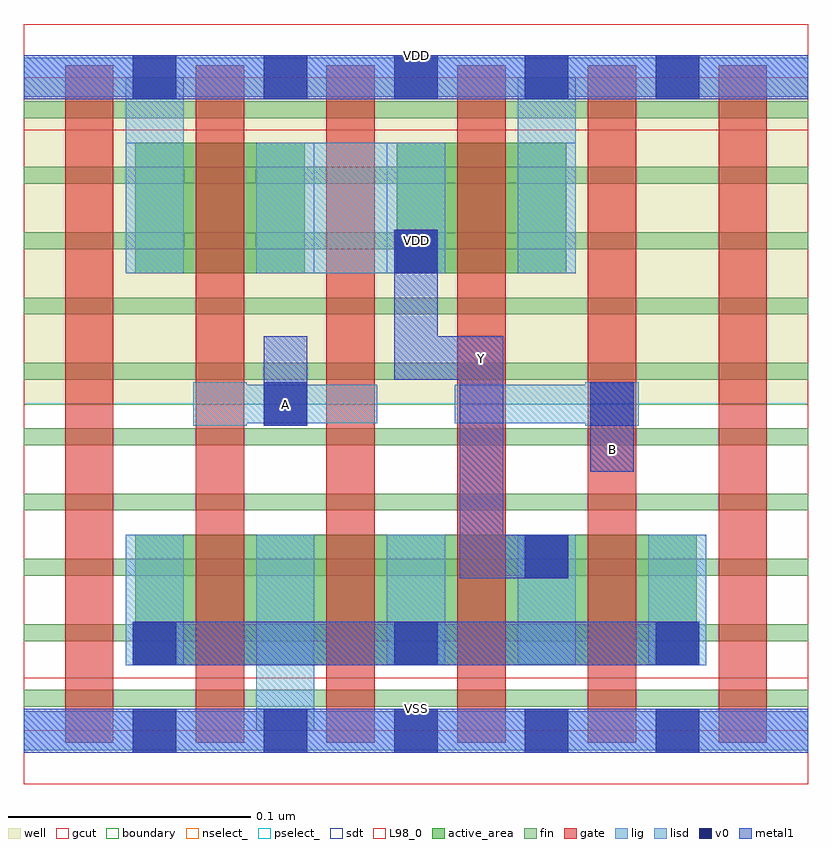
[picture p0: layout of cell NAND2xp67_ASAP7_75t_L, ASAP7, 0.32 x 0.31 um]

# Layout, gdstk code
import gdstk
lib = gdstk.Library(unit=1e-6, precision=2.5e-10)
def R(c, l, rs):  # rectangles x0, y0, x1, y1
    for r in rs: c.add(gdstk.rectangle(r[:2], r[2:], *l))
def A(c, l, x, y, w, h, nx, ny, dx, dy):  # array of equal rectangles
    R(c, l, [(x+i*dx, y+j*dy, x+i*dx+w, y+j*dy+h) for i in range(nx) for j in range(ny)])
def P(c, l, *ps):  # polygons
    for p in ps: c.add(gdstk.Polygon(p, *l))
well = (1, 0)
fin = (2, 0)
gate = (7, 0)
gcut = (10, 0)
active_area = (11, 0)
nselect_ = (12, 0)
pselect_ = (13, 0)
lig = (16, 0)
lisd = (17, 0)
v0 = (18, 0)
metal1 = (19, 0)
sdt = (88, 0)
L98_0 = (98, 0)
boundary = (100, 0)

nand2xp67_asap7_75t_l = lib.new_cell('NAND2xp67_ASAP7_75t_L')
R(nand2xp67_asap7_75t_l, well, [(0,0.135,0.324,0.27)])
A(nand2xp67_asap7_75t_l, fin, 0, 0.01, 0.324, 0.007, 1, 10, 0, 0.027)
A(nand2xp67_asap7_75t_l, gate, 0.017, -0.005, 0.02, 0.28, 6, 1, 0.054, 0)
R(nand2xp67_asap7_75t_l, gcut, [(0,-0.022,0.324,0.022), (0,0.248,0.324,0.292)])
R(nand2xp67_asap7_75t_l, active_area, [(0.046,0.027,0.278,0.081), (0.046,0.189,0.116,0.243), (0.154,0.189,0.224,0.243)])
R(nand2xp67_asap7_75t_l, nselect_, [(0,0,0.324,0.135)])
R(nand2xp67_asap7_75t_l, pselect_, [(0,0.135,0.324,0.27)])
R(nand2xp67_asap7_75t_l, lig, [(0,-0.008,0.324,0.008), (0.07,0.126,0.092,0.144), (0.232,0.126,0.254,0.144), (0.07,0.127,0.146,0.143), (0.178,0.127,0.254,0.143), (0,0.262,0.324,0.278)])
A(nand2xp67_asap7_75t_l, lisd, 0.15, 0.027, 0.024, 0.054, 3, 1, 0.054, 0)
R(nand2xp67_asap7_75t_l, lisd, [(0.096,0,0.12,0.081), (0.096,0,0.12,0.081), (0.042,0.027,0.066,0.081), (0.042,0.189,0.066,0.27), (0.042,0.189,0.066,0.27), (0.096,0.189,0.174,0.243), (0.15,0.189,0.174,0.243), (0.204,0.189,0.228,0.27), (0.204,0.189,0.228,0.27)])
A(nand2xp67_asap7_75t_l, v0, 0.045, -0.009, 0.018, 0.018, 5, 2, 0.054, 0.27)
A(nand2xp67_asap7_75t_l, v0, 0.045, 0.027, 0.018, 0.018, 3, 1, 0.108, 0)
R(nand2xp67_asap7_75t_l, v0, [(0.207,0.063,0.225,0.081), (0.099,0.126,0.117,0.144), (0.234,0.126,0.252,0.144), (0.153,0.189,0.171,0.207)])
A(nand2xp67_asap7_75t_l, metal1, 0.045, 0.027, 0.018, 0.018, 3, 1, 0.108, 0)
R(nand2xp67_asap7_75t_l, metal1, [(0,-0.009,0.324,0.009), (0.045,0.027,0.279,0.045), (0.207,0.063,0.225,0.081), (0.234,0.107,0.252,0.144), (0.099,0.126,0.117,0.144), (0.099,0.126,0.117,0.163), (0.234,0.126,0.252,0.144), (0.153,0.189,0.171,0.207), (0,0.261,0.324,0.279)])
P(nand2xp67_asap7_75t_l, metal1, [(0.18,0.063),(0.18,0.145),(0.153,0.145),(0.153,0.207),(0.171,0.207),(0.171,0.163),(0.198,0.163),(0.198,0.081),(0.225,0.081),(0.225,0.063)])
A(nand2xp67_asap7_75t_l, sdt, 0.096, 0.027, 0.024, 0.054, 4, 1, 0.054, 0)
A(nand2xp67_asap7_75t_l, sdt, 0.042, 0.189, 0.024, 0.054, 4, 1, 0.054, 0)
R(nand2xp67_asap7_75t_l, sdt, [(0.042,0.027,0.066,0.081), (0.096,0.027,0.12,0.081), (0.042,0.189,0.066,0.243), (0.204,0.189,0.228,0.243)])
R(nand2xp67_asap7_75t_l, L98_0, [(0,0,0.324,0.27)])
R(nand2xp67_asap7_75t_l, boundary, [(0,0,0.324,0.27)])
nand2xp67_asap7_75t_l.add(gdstk.Label('VDD', (0.162,0.2025), layer=1, texttype=251))
nand2xp67_asap7_75t_l.add(gdstk.Label('VSS', (0.162,-0.0675), layer=3, texttype=251))
nand2xp67_asap7_75t_l.add(gdstk.Label('VSS', (0.162,0.009), layer=19, texttype=251))
nand2xp67_asap7_75t_l.add(gdstk.Label('VDD', (0.162,0.279), layer=19, texttype=251))
nand2xp67_asap7_75t_l.add(gdstk.Label('Y', (0.189,0.154), layer=19, texttype=251))
nand2xp67_asap7_75t_l.add(gdstk.Label('A', (0.108,0.135), layer=19, texttype=251))
nand2xp67_asap7_75t_l.add(gdstk.Label('B', (0.243,0.116), layer=19, texttype=251))

lib.write_gds('NAND2xp67_ASAP7_75t_L.gds')
